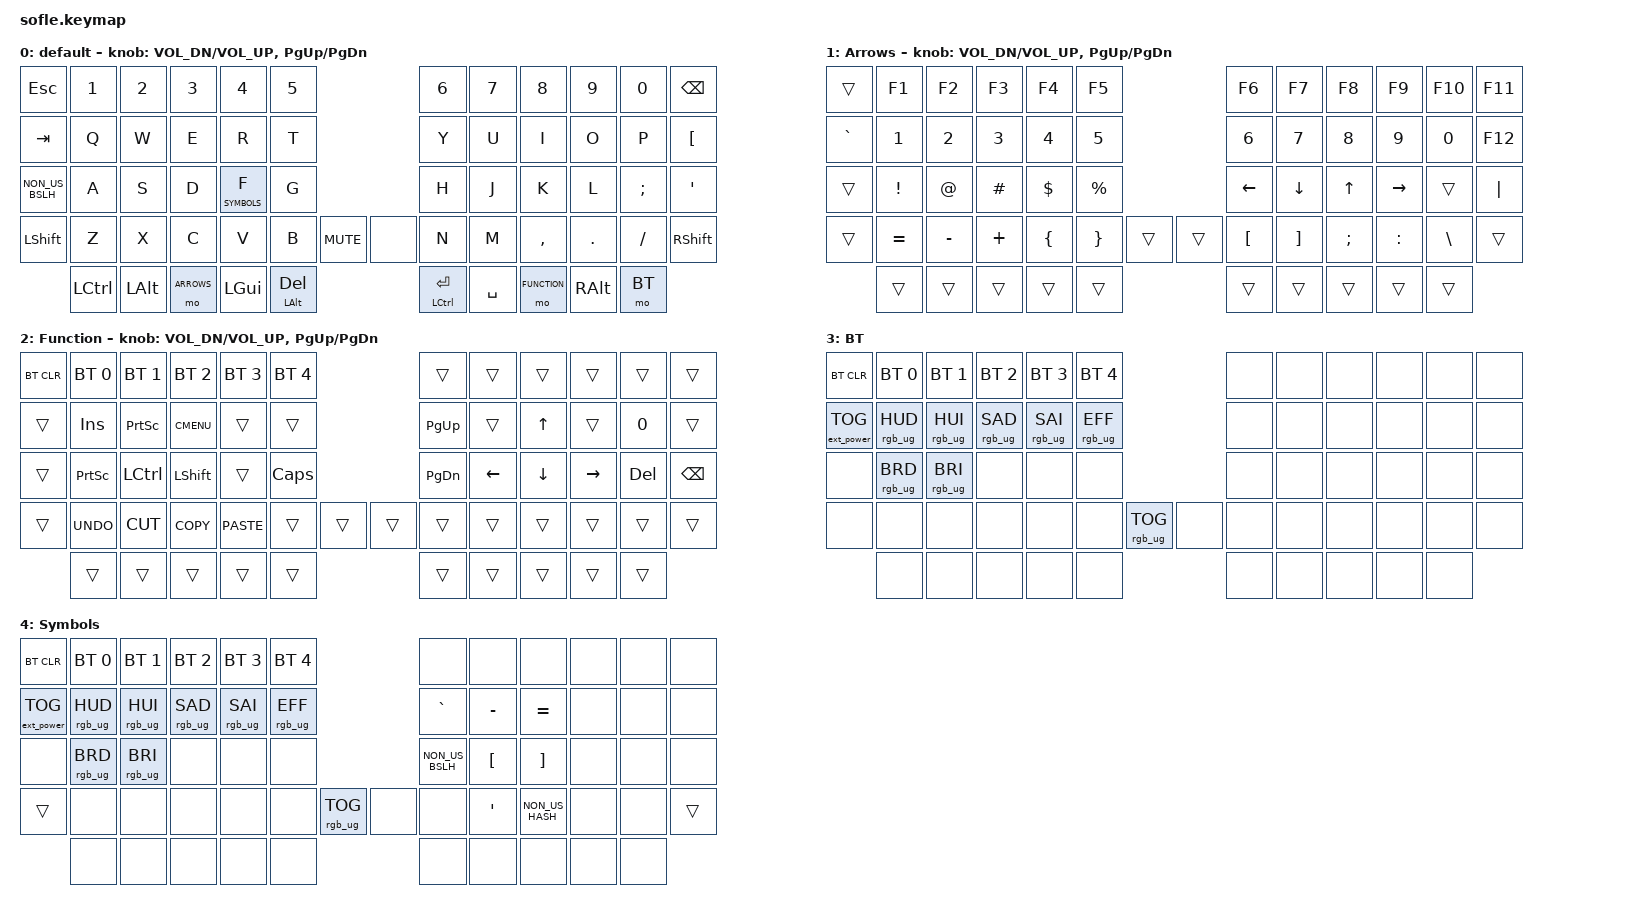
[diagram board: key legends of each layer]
/*
 * Copyright (c) 2020 The ZMK Contributors
 *
 * SPDX-License-Identifier: MIT
 */

#include <behaviors.dtsi>
#include <dt-bindings/zmk/keys.h>
#include <dt-bindings/zmk/bt.h>
#include <dt-bindings/zmk/rgb.h>
#include <dt-bindings/zmk/ext_power.h>

#define BASE 0
#define ARROWS 1
#define FUNCTION 2
#define BT 3
#define SYMBOLS 4

/ {

   // Activate ADJUST layer by pressing raise and lower
   // conditional_layers {
   //     compatible = "zmk,conditional-layers";
   //     adjust_layer {
   //         if-layers = <LOWER RAISE>;
   //         then-layer = <ADJUST>;
   //     };
   // };

    keymap {
        compatible = "zmk,keymap";

        default_layer {
            display-name = "default";
// ------------------------------------------------------------------------------------------------------------
// |  ESC `|  1  |  2  |  3   |  4   |  5   |                   |  6   |  7    |  8    |  9   |   0   |  BKSPC  |
// |  TAB  |  Q  |  W  |  E   |  R   |  T   |                   |  Y   |  U    |  I    |  O   |   P   | |
// |  \  |  A  |  S  |  D   |  F   |  G   |                   |  H   |  J    |  K    |  L   |   ;   |   '   |
// | SHIFT |  Z  |  X  |  C   |  V   |  B   |  MUTE  |  |       |  N   |  M    |  ,    |  .   |   /   | SHIFT |
//               | CTRL | ALT  | GUI | ARROWS|  DEL/ALT |  | ENTER/CTRL | RAISE| FUNCTION  | ALT   | BT  |
            bindings = <
&kp ESC &kp N1 &kp N2   &kp N3   &kp N4    &kp N5                           &kp N6 &kp N7    &kp N8    &kp N9   &kp N0   &kp BSPC
&kp TAB   &kp Q  &kp W    &kp E    &kp R     &kp T                          &kp Y  &kp U     &kp I     &kp O    &kp P    &kp LBKT
&kp NON_US_BSLH   &kp A  &kp S    &kp D    &lt SYMBOLS F &kp G              &kp H  &kp J     &kp K     &kp L    &kp SEMI &kp SQT
&kp LSHFT &kp Z  &kp X    &kp C    &kp V     &kp B      &kp C_MUTE &none    &kp N  &kp M     &kp COMMA &kp DOT  &kp FSLH &kp RSHFT
          &kp LCTRL &kp LALT &mo ARROWS &kp LGUI &mt LALT DEL     &mt LCTRL ENTER &kp SPACE &mo FUNCTION &kp RALT &mo BT
            >;

            sensor-bindings = <&inc_dec_kp C_VOL_DN C_VOL_UP &inc_dec_kp PG_UP PG_DN>;
        };

        arrows_layer {
            display-name = "Arrows";
// TODO: Some binds are waiting for shifted keycode support.
// ------------------------------------------------------------------------------------------------------------
// |       |  F1 |  F2 |  F3  |  F4  |  F5  |                   |  F6  |  F7   |  F8   |  F9  |  F10  |  F11  |
// |   `   |  1  |  2  |  3   |  4   |  5   |                   |  6   |  7    |  8    |  9   |   0   |  F12  |
// |       |  !  |  @  |  #   |  $   |  %   |                   |  <-  |  v    |  ^    |  >   |   |   |
// |       |  =  |  -  |  +   |  {   |  }   |        |  |       |  [   |  ]    |  ;    |  :   |   \   |       |
//               |     |      |      |      |        |  |       |      |       |       |      |
            bindings = <
&trans    &kp F1    &kp F2    &kp F3      &kp F4    &kp F5                    &kp F6    &kp F7   &kp F8    &kp F9    &kp F10   &kp F11
&kp GRAVE &kp N1    &kp N2    &kp N3      &kp N4    &kp N5                    &kp N6    &kp N7   &kp N8    &kp N9    &kp N0    &kp F12
&trans    &kp EXCL  &kp AT    &kp HASH    &kp DLLR  &kp PRCNT                 &kp LEFT &kp DOWN &kp UP &kp RIGHT  &trans  &kp PIPE
&trans    &kp EQUAL &kp MINUS &kp PLUS &kp LBRC  &kp RBRC   &trans &trans  &kp LBKT  &kp RBKT &kp SEMI  &kp COLON &kp BSLH  &trans
                    &trans    &trans      &trans    &trans     &trans &trans  &trans    &trans   &trans    &trans
            >;

            sensor-bindings = <&inc_dec_kp C_VOL_DN C_VOL_UP &inc_dec_kp PG_UP PG_DN>;
        };

        function_layer {
            display-name = "Function";
// ------------------------------------------------------------------------------------------------------------
// | BTCLR | BT1  | BT2  |  BT3  |  BT4  |  BT5 |                |      |      |       |      |       |       |
// |       | INS  | PSCR | GUI   |       |      |                | PGUP |      |   ^   |      |       |       |
// |       | PSCR  | CTRL | SHIFT |       | CAPS |                | PGDN |   <- |   v   |  ->  |  DEL  | BKSPC |
// |       | UNDO | CUT  | COPY  | PASTE |      |      |  |      |      |      |       |      |       |       |
//                |      |       |       |      |      |  |      |      |      |       |      |
            bindings = <
&bt BT_CLR &bt BT_SEL 0 &bt BT_SEL 1 &bt BT_SEL 2 &bt BT_SEL 3 &bt BT_SEL 4                  &trans    &trans    &trans   &trans    &trans  &trans
&trans     &kp INS      &kp PSCRN    &kp K_CMENU  &trans       &trans                        &kp PG_UP &trans    &kp UP   &trans    &kp N0  &trans
&trans     &kp PSCRN    &kp LCTRL    &kp LSHFT    &trans       &kp CLCK                      &kp PG_DN &kp LEFT  &kp DOWN &kp RIGHT &kp DEL &kp BSPC
&trans     &kp K_UNDO   &kp K_CUT    &kp K_COPY   &kp K_PASTE  &trans        &trans  &trans  &trans    &trans    &trans   &trans    &trans  &trans
                        &trans       &trans       &trans       &trans        &trans  &trans  &trans    &trans    &trans   &trans
            >;

            sensor-bindings = <&inc_dec_kp C_VOL_DN C_VOL_UP &inc_dec_kp PG_UP PG_DN>;
        };

        bt_layer {
// ----------------------------------------------------------------------------------------------------------------------------
// | BTCLR  |  BT1    |  BT2    |   BT3   |   BT4   |   BT5   |                  |      |      |       |      |       |       |
// | EXTPWR | RGB_HUD | RGB_HUI | RGB_SAD | RGB_SAI | RGB_EFF |                  |      |      |       |      |       |       |
// |        | RGB_BRD | RGB_BRI |         |         |         |                  |      |      |       |      |       |       |
// |        |         |         |         |         |         | RGB_TOG | |      |      |      |       |      |       |       |
//                    |         |         |         |         |         | |      |      |      |       |      |
            display-name = "BT";
            bindings = <
&bt BT_CLR        &bt BT_SEL 0    &bt BT_SEL 1    &bt BT_SEL 2    &bt BT_SEL 3    &bt BT_SEL 4                            &none &none &none &none &none &none
&ext_power EP_TOG &rgb_ug RGB_HUD &rgb_ug RGB_HUI &rgb_ug RGB_SAD &rgb_ug RGB_SAI &rgb_ug RGB_EFF                         &none &none &none &none &none &none
&none             &rgb_ug RGB_BRD &rgb_ug RGB_BRI &none           &none           &none                                   &none &none &none &none &none &none
&none             &none           &none           &none           &none           &none            &rgb_ug RGB_TOG &none  &none &none &none &none &none &none
                                  &none           &none           &none           &none            &none           &none  &none &none &none &none
            >;
        };

        symbols_layer {
// ----------------------------------------------------------------------------------------------------------------------------
// | BTCLR  |  BT1    |  BT2    |   BT3   |   BT4   |   BT5   |                  |      |      |       |      |       |       |
// | EXTPWR | RGB_HUD | RGB_HUI | RGB_SAD | RGB_SAI | RGB_EFF |                  |   `   |  MINUS   | EQUAL      |      |       |       |
// |        | RGB_BRD | RGB_BRI |         |         |         |                  |   |   |  [    |   ]    |      |       |       |
// |        |         |         |         |         |         | RGB_TOG | |      |      |      |       |      |       |       |
//                    |         |         |         |         |         | |      |      |      |       |      |
            display-name = "Symbols";
            bindings = <
&bt BT_CLR        &bt BT_SEL 0    &bt BT_SEL 1    &bt BT_SEL 2    &bt BT_SEL 3    &bt BT_SEL 4                            &none &none &none &none &none &none
&ext_power EP_TOG &rgb_ug RGB_HUD &rgb_ug RGB_HUI &rgb_ug RGB_SAD &rgb_ug RGB_SAI &rgb_ug RGB_EFF                         &kp GRAVE &kp MINUS &kp EQUAL &none &none &none
&none             &rgb_ug RGB_BRD &rgb_ug RGB_BRI &none           &none           &none                                   &kp NON_US_BSLH &kp LBKT &kp RBKT &none &none &none
&trans             &none           &none           &none           &none           &none           &rgb_ug RGB_TOG &none  &none &kp SQT &kp NON_US_HASH &none &none &trans
                                  &none           &none           &none           &none            &none           &none  &none &none &none &none
            >;
        };

    };
};
